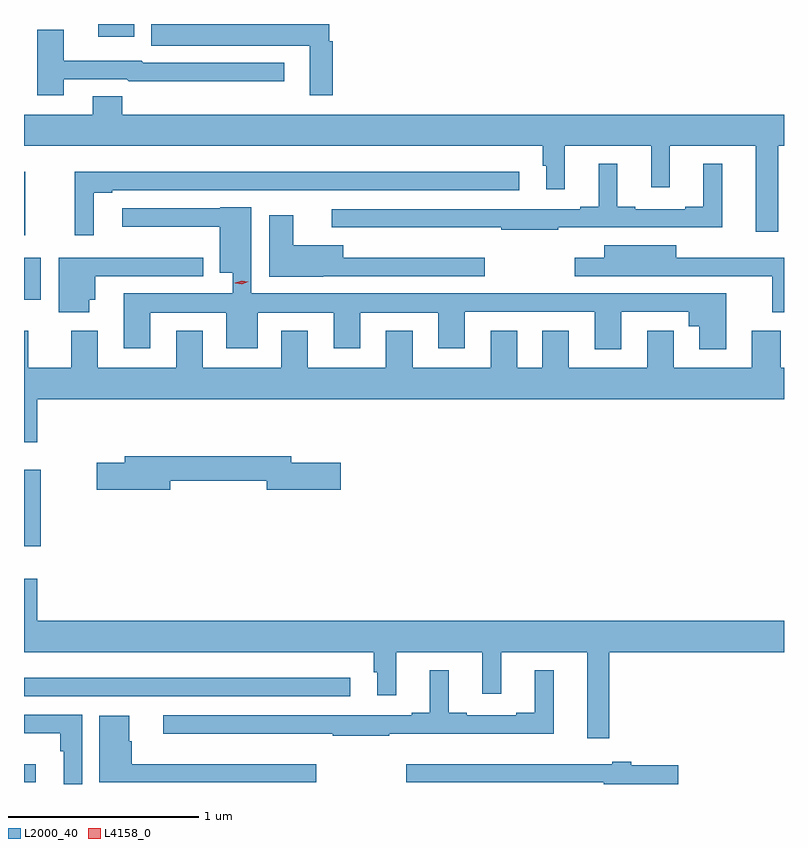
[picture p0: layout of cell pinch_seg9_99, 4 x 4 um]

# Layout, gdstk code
import gdstk
lib = gdstk.Library(unit=1e-6, precision=1e-09)
def R(c, l, rs):  # rectangles x0, y0, x1, y1
    for r in rs: c.add(gdstk.rectangle(r[:2], r[2:], *l))
def P(c, l, *ps):  # polygons
    for p in ps: c.add(gdstk.Polygon(p, *l))
L2000_40 = (2000, 40)
L4158_0 = (4158, 0)

pinch_seg9_99 = lib.new_cell('pinch_seg9_99')
R(pinch_seg9_99, L2000_40, [(1092.248,1190.406,1092.31,1190.503), (1092.248,1190.859,1093.966,1190.956), (1092.248,1191.65,1092.337,1192.051), (1092.248,1192.946,1092.337,1193.167), (1092.248,1193.286,1092.254,1193.62), (1092.638,1194.332,1092.829,1194.398)])
P(pinch_seg9_99, L2000_40, [(1093.873,1194.308),(1093.855,1194.308),(1093.855,1194.398),(1092.917,1194.398),(1092.917,1194.284),(1093.751,1194.284),(1093.751,1194.024),(1093.873,1194.024)],
  [(1092.457,1194.108),(1092.789,1194.108),(1092.799,1194.098),(1093.618,1194.098),(1093.618,1194.195),(1092.876,1194.195),(1092.867,1194.204),(1092.457,1194.204),(1092.457,1194.367),(1092.317,1194.367),(1092.317,1194.024),(1092.457,1194.024)],
  [(1096.217,1193.756),(1096.248,1193.756),(1096.248,1193.92),(1092.764,1193.92),(1092.764,1194.019),(1092.611,1194.019),(1092.611,1193.92),(1092.248,1193.92),(1092.248,1193.756),(1094.977,1193.756),(1094.977,1193.651),(1094.996,1193.651),(1094.996,1193.529),(1095.095,1193.529),(1095.095,1193.756),(1095.548,1193.756),(1095.548,1193.538),(1095.647,1193.538),(1095.647,1193.756),(1096.1,1193.756),(1096.1,1193.304),(1096.217,1193.304)],
  [(1095.059,1193.327),(1095.276,1193.327),(1095.276,1193.328),(1095.923,1193.328),(1095.923,1193.662),(1095.824,1193.662),(1095.824,1193.437),(1095.728,1193.437),(1095.728,1193.424),(1095.466,1193.424),(1095.466,1193.437),(1095.371,1193.437),(1095.371,1193.662),(1095.272,1193.662),(1095.272,1193.437),(1095.176,1193.437),(1095.176,1193.424),(1093.869,1193.424),(1093.869,1193.327),(1094.761,1193.327),(1094.761,1193.316),(1095.059,1193.316)],
  [(1092.616,1193.511),(1092.712,1193.511),(1092.712,1193.523),(1093.542,1193.523),(1093.542,1193.522),(1093.781,1193.522),(1093.781,1193.523),(1094.854,1193.523),(1094.854,1193.62),(1092.514,1193.62),(1092.514,1193.286),(1092.616,1193.286)],
  [(1095.391,1192.884),(1095.746,1192.884),(1095.746,1192.808),(1095.803,1192.808),(1095.803,1192.686),(1095.943,1192.686),(1095.943,1192.98),(1093.444,1192.98),(1093.444,1193.434),(1093.281,1193.434),(1093.281,1193.427),(1092.765,1193.427),(1092.765,1193.33),(1093.277,1193.33),(1093.277,1193.09),(1093.346,1193.09),(1093.346,1192.98),(1092.773,1192.98),(1092.773,1192.692),(1092.913,1192.692),(1092.913,1192.879),(1093.313,1192.879),(1093.313,1192.692),(1093.477,1192.692),(1093.477,1192.879),(1093.877,1192.879),(1093.877,1192.692),(1094.017,1192.692),(1094.017,1192.879),(1094.429,1192.879),(1094.429,1192.692),(1094.569,1192.692),(1094.569,1192.884),(1095.251,1192.884),(1095.251,1192.686),(1095.391,1192.686)],
  [(1093.823,1193.07),(1094.674,1193.07),(1094.674,1193.167),(1093.927,1193.167),(1093.927,1193.233),(1093.666,1193.233),(1093.666,1193.392),(1093.538,1193.392),(1093.538,1193.069),(1093.823,1193.069)],
  [(1096.248,1193.167),(1095.682,1193.167),(1095.682,1193.233),(1095.302,1193.233),(1095.302,1193.167),(1095.147,1193.167),(1095.147,1193.07),(1096.187,1193.07),(1096.187,1192.881),(1096.248,1192.881)],
  [(1092.592,1192.946),(1092.622,1192.946),(1092.622,1193.07),(1093.192,1193.07),(1093.192,1193.167),(1092.431,1193.167),(1092.431,1192.881),(1092.592,1192.881)],
  [(1092.319,1192.424),(1096.248,1192.424),(1096.248,1192.588),(1096.232,1192.588),(1096.232,1192.783),(1096.079,1192.783),(1096.079,1192.588),(1095.667,1192.588),(1095.667,1192.783),(1095.527,1192.783),(1095.527,1192.588),(1095.115,1192.588),(1095.115,1192.783),(1094.975,1192.783),(1094.975,1192.588),(1094.845,1192.588),(1094.845,1192.783),(1094.705,1192.783),(1094.705,1192.588),(1094.293,1192.588),(1094.293,1192.783),(1094.153,1192.783),(1094.153,1192.588),(1093.741,1192.588),(1093.741,1192.783),(1093.601,1192.783),(1093.601,1192.588),(1093.189,1192.588),(1093.189,1192.783),(1093.049,1192.783),(1093.049,1192.588),(1092.637,1192.588),(1092.637,1192.783),(1092.497,1192.783),(1092.497,1192.588),(1092.271,1192.588),(1092.271,1192.783),(1092.248,1192.783),(1092.248,1192.197),(1092.319,1192.197)],
  [(1093.018,1191.994),(1093.526,1191.994),(1093.526,1191.947),(1093.915,1191.947),(1093.915,1192.089),(1093.654,1192.089),(1093.654,1192.123),(1092.779,1192.123),(1092.779,1192.089),(1092.63,1192.089),(1092.63,1191.947),(1093.018,1191.947)],
  [(1095.329,1191.092),(1096.248,1191.092),(1096.248,1191.256),(1092.317,1191.256),(1092.317,1191.478),(1092.248,1191.478),(1092.248,1191.092),(1094.089,1191.092),(1094.089,1190.987),(1094.108,1190.987),(1094.108,1190.865),(1094.207,1190.865),(1094.207,1191.092),(1094.66,1191.092),(1094.66,1190.874),(1094.759,1190.874),(1094.759,1191.092),(1095.212,1191.092),(1095.212,1190.64),(1095.329,1190.64)],
  [(1094.171,1190.663),(1095.035,1190.663),(1095.035,1190.998),(1094.936,1190.998),(1094.936,1190.773),(1094.84,1190.773),(1094.84,1190.76),(1094.578,1190.76),(1094.578,1190.773),(1094.483,1190.773),(1094.483,1190.998),(1094.384,1190.998),(1094.384,1190.773),(1094.288,1190.773),(1094.288,1190.76),(1092.981,1190.76),(1092.981,1190.663),(1093.873,1190.663),(1093.873,1190.652),(1094.171,1190.652)],
  [(1092.555,1190.763),(1092.248,1190.763),(1092.248,1190.666),(1092.439,1190.666),(1092.439,1190.57),(1092.458,1190.57),(1092.458,1190.398),(1092.555,1190.398)],
  [(1093.786,1190.503),(1092.815,1190.503),(1092.815,1190.622),(1092.802,1190.622),(1092.802,1190.758),(1092.644,1190.758),(1092.644,1190.406),(1093.786,1190.406)],
  [(1095.691,1190.498),(1095.444,1190.498),(1095.444,1190.515),(1095.344,1190.515),(1095.344,1190.503),(1094.259,1190.503),(1094.259,1190.406),(1095.299,1190.406),(1095.299,1190.398),(1095.691,1190.398)])
P(pinch_seg9_99, L4158_0, [(1093.395,1193.028),(1093.359,1193.034),(1093.358,1193.035),(1093.359,1193.035),(1093.393,1193.048),(1093.429,1193.042),(1093.429,1193.042),(1093.429,1193.042)])

lib.write_gds('pinch_seg9_99.gds')
